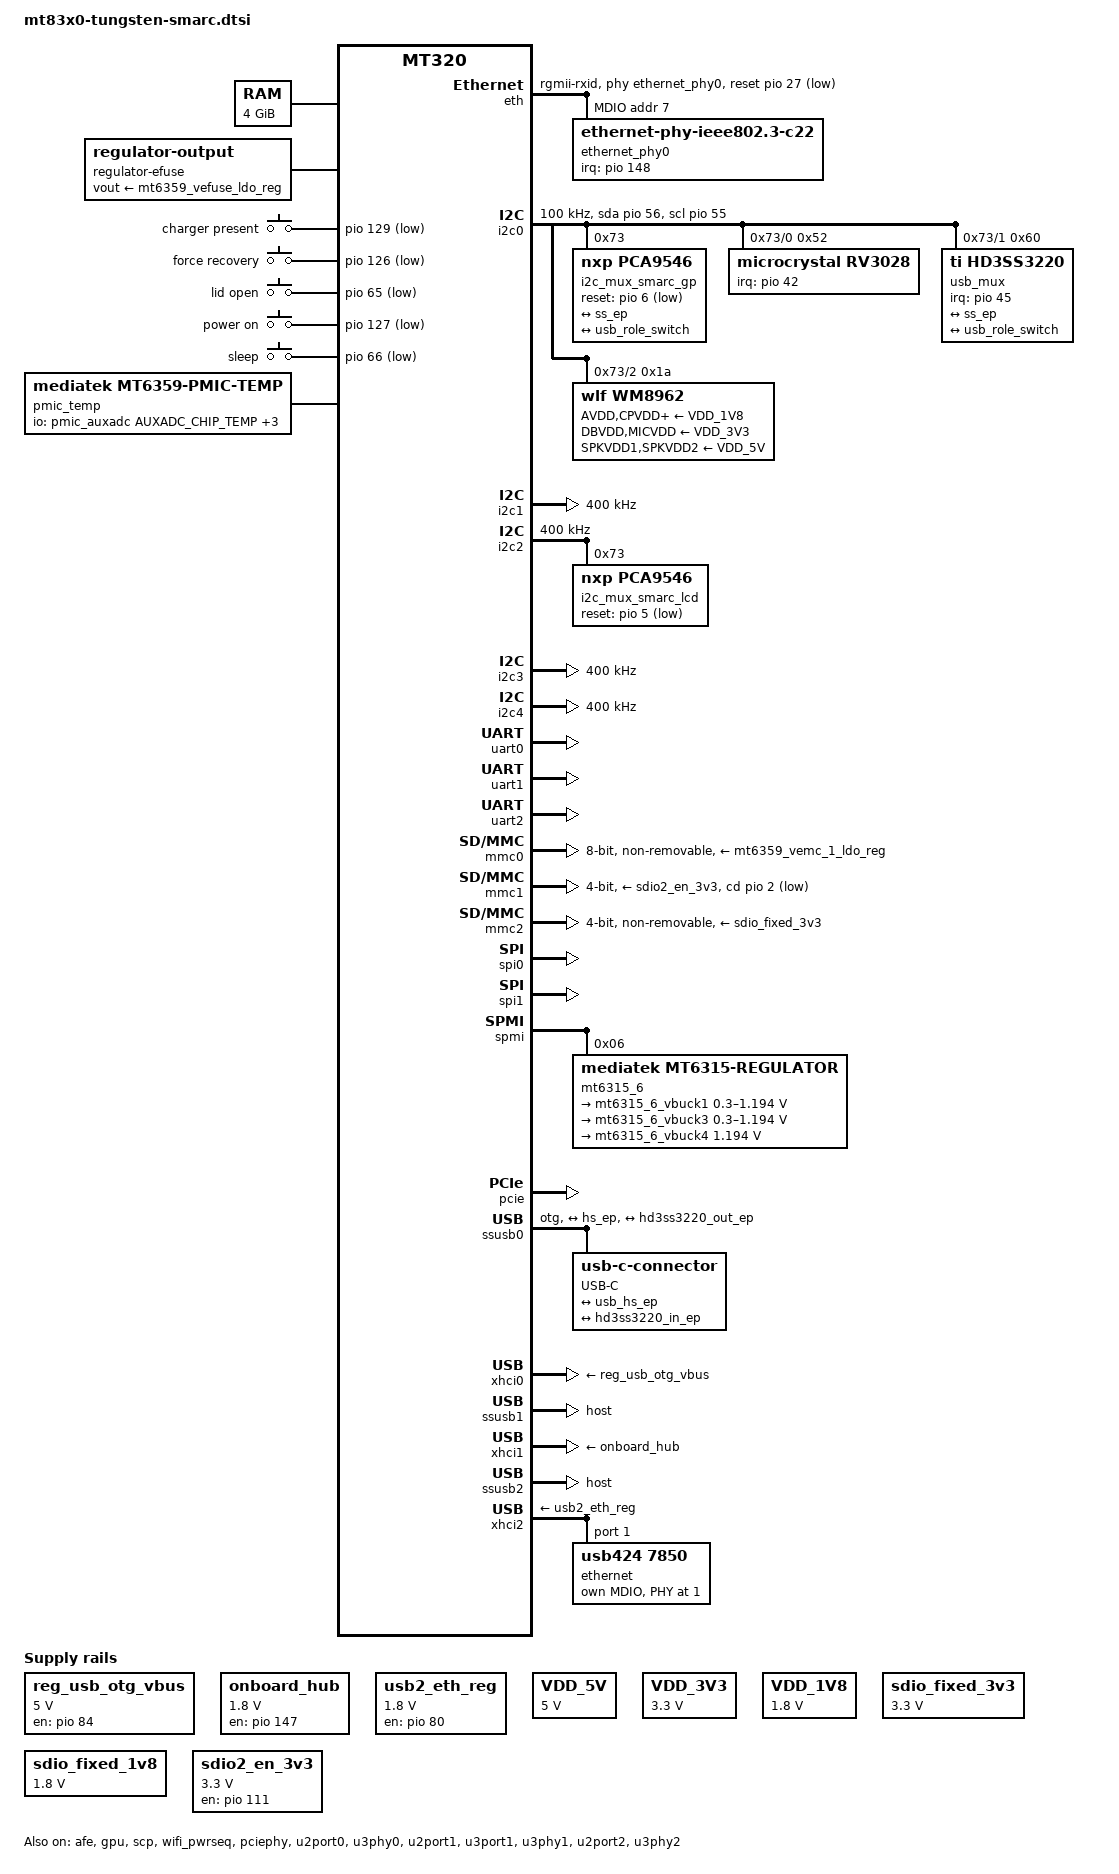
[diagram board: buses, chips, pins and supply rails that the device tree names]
// SPDX-License-Identifier: (GPL-2.0 OR MIT)
/*
 * Copyright (C) 2023 Boundary Devices
 */
#include "mt6359.dtsi"
#include <dt-bindings/gpio/gpio.h>
#include <dt-bindings/input/input.h>
#include <dt-bindings/interrupt-controller/irq.h>
#include <dt-bindings/net/microchip-lan78xx.h>
#include <dt-bindings/pinctrl/mediatek,mt8188-pinfunc.h>
#include <dt-bindings/usb/pd.h>

/ {
	aliases {
		dsi0 = &dsi0;
		ethernet0 = &eth;
		rtc0 = &rv3028;
		rtc1 = &mt6359rtc;
		serial0 = &uart0;
	};

	chosen {
		stdout-path = "serial0:115200n8";
	};

	memory@40000000 {
		device_type = "memory";
		reg = <0 0x40000000 0x1 0x00000000>;
	};

	reserved-memory {
		#address-cells = <2>;
		#size-cells = <2>;
		ranges;

		/*
		 * 12 MiB reserved for OP-TEE (BL32)
		 * +-----------------------+ 0x43e0_0000
		 * |      SHMEM 2MiB       |
		 * +-----------------------+ 0x43c0_0000
		 * |        | TA_RAM  8MiB |
		 * + TZDRAM +--------------+ 0x4340_0000
		 * |        | TEE_RAM 2MiB |
		 * +-----------------------+ 0x4320_0000
		 */
		optee_reserved: optee@43200000 {
			no-map;
			reg = <0 0x43200000 0 0x00c00000>;
		};

		scp_mem: memory@50000000 {
			compatible = "shared-dma-pool";
			reg = <0 0x50000000 0 0x2900000>;
			no-map;
		};

		/* 2 MiB reserved for ARM Trusted Firmware (BL31) */
		bl31_secmon_reserved: secmon@54600000 {
			no-map;
			reg = <0 0x54600000 0x0 0x200000>;
		};

		apu_mem: memory@55000000 {
			compatible = "shared-dma-pool";
			reg = <0 0x55000000 0 0x1400000>; /* 20 MB */
		};

		vpu_mem: memory@57000000 {
			compatible = "shared-dma-pool";
			reg = <0 0x57000000 0 0x1400000>; /* 20 MB */
		};

		/*
		 * 24 MiB reserved for Audio AFE and ADSP
		 * +-----------------------+ 0x6180_0000
		 * |  AFE DMA MEM     8MiB |
		 * +-----------------------+ 0x6100_0000
		 * |  ADSP DMA MEM    1MiB |
		 * +-----------------------+ 0x60f0_0000
		 * |  ADSP MEM       15MiB |
		 * +-----------------------+ 0x6000_0000
		 */

		adsp_mem_reserved: adsp-mem-region {
			compatible = "shared-dma-pool";
			reg = <0 0x60000000 0 0xf00000>;
			no-map;
		};

		adsp_dma_mem_reserved: snd-dma-mem-region {
			compatible = "shared-dma-pool";
			reg = <0 0x60f00000 0 0x100000>;
			no-map;
		};

		afe_dma_mem_reserved: adsp-dma-mem-region {
			compatible = "shared-dma-pool";
			reg = <0 0x61000000 0 0x800000>;
			no-map;
		};
	};

	firmware {
		optee {
			compatible = "linaro,optee-tz";
			method = "smc";
		};
	};

	regulator-efuse {
		compatible = "regulator-output";
		vout-supply = <&mt6359_vefuse_ldo_reg>;
	};

	reg_usb_otg_vbus: regulator-usb-otg-vbus { /* USB 2.0 P0 USB-C */
		compatible = "regulator-fixed";
		regulator-name = "usb_otg_vbus";
		regulator-min-microvolt = <5000000>;
		regulator-max-microvolt = <5000000>;
		gpio = <&pio 84 GPIO_ACTIVE_HIGH>; /* USB0_DRV_VBUS */
		enable-active-high;
	};

	onboard_hub: regulator-usb1-hub-reset {
		compatible = "regulator-fixed";
		regulator-name = "hub_reset";
		regulator-min-microvolt = <1800000>;
		regulator-max-microvolt = <1800000>;
		gpio = <&pio 147 GPIO_ACTIVE_HIGH>; /* USB_HUB_RESET DPI_HSYNC*/
		enable-active-high;
		pinctrl-names = "default";
		pinctrl-0 = <&usb_hub_reset>;
	};

	usb2_eth_reg: regulator-usb2-eth-reset {
		compatible = "regulator-fixed";
		regulator-name = "eth1_reset";
		regulator-min-microvolt = <1800000>;
		regulator-max-microvolt = <1800000>;
		gpio = <&pio 80 GPIO_ACTIVE_HIGH>;
		enable-active-high;
		pinctrl-names = "default";
		pinctrl-0 = <&usb2_eth_reset>;
	};

	VDD_5V: VDD-5V {
		compatible = "regulator-fixed";
		regulator-name = "VDD-5V";
		regulator-min-microvolt = <5000000>;
		regulator-max-microvolt = <5000000>;
		regulator-always-on;
	};

	VDD_3V3: VDD-3V3 {
		compatible = "regulator-fixed";
		regulator-name = "VDD-3V3";
		regulator-min-microvolt = <3300000>;
		regulator-max-microvolt = <3300000>;
		regulator-always-on;
	};

	VDD_1V8: VDD-1V8 {
		compatible = "regulator-fixed";
		regulator-name = "VDD-1V8";
		regulator-min-microvolt = <1800000>;
		regulator-max-microvolt = <1800000>;
		regulator-always-on;
	};

	sdio_fixed_3v3: regulator@2 { /* WiFi */
		compatible = "regulator-fixed";
		regulator-name = "sdio_card";
		regulator-min-microvolt = <3300000>;
		regulator-max-microvolt = <3300000>;
		enable-active-high;
		regulator-always-on;
	};

	sdio_fixed_1v8: regulator@3 { /* WiFi */
		compatible = "regulator-fixed";
		regulator-name = "sdio_io";
		regulator-min-microvolt = <1800000>;
		regulator-max-microvolt = <1800000>;
		enable-active-high;
		regulator-always-on;
	};

	sdio2_en_3v3: regulator-sdio2 { /* SDCARD */
		compatible = "regulator-fixed";
		regulator-always-on;
		regulator-name = "sdio2-en";
		regulator-min-microvolt = <3300000>;
		regulator-max-microvolt = <3300000>;
		gpio = <&pio 111 GPIO_ACTIVE_HIGH>;
		enable-active-high;
	};

	gpio_keys: gpio-keys {
		compatible = "gpio-keys";
		pinctrl-names = "default";
		pinctrl-0 = <&gpio_keys_pins>;

		charger-present {
			label = "charger present";
			gpios = <&pio 129 GPIO_ACTIVE_LOW>;
			linux,code = <11>;
		};

		force-recovery {
			label = "force recovery";
			gpios = <&pio 126 GPIO_ACTIVE_LOW>;
			linux,code = <2>;
		};

		lid-open {
			label = "lid open";
			gpios = <&pio 65 GPIO_ACTIVE_LOW>;
			linux,code = <3>;
		};

		pwr-on {
			label = "power on";
			gpios = <&pio 127 GPIO_ACTIVE_LOW>;
			linux,code = <4>;
		};

		sleep {
			label = "sleep";
			gpios = <&pio 66 GPIO_ACTIVE_LOW>;
			linux,code = <5>;
		};
	};

	pmic_temp: pmic-temp {
		compatible = "mediatek,mt6359-pmic-temp";
		io-channels =
			<&pmic_auxadc AUXADC_CHIP_TEMP>,
			<&pmic_auxadc AUXADC_VCORE_TEMP>,
			<&pmic_auxadc AUXADC_VPROC_TEMP>,
			<&pmic_auxadc AUXADC_VGPU_TEMP>;
		io-channel-names =
			"pmic_chip_temp",
			"pmic_buck1_temp",
			"pmic_buck2_temp",
			"pmic_buck3_temp";

		#thermal-sensor-cells = <1>;
		nvmem-cells = <&thermal_efuse_data1>;
		nvmem-cell-names = "e_data1";
	};
};

&afe {
	memory-region = <&afe_dma_mem_reserved>;
	#sound-dai-cells = <0>;
	mediatek,etdm-out1-multi-pin-mode;
	mediatek,etdm-in2-multi-pin-mode;
	mediatek,etdm-in2-cowork-source = <2>;
	status = "okay";
};

&adsp {
	memory-region = <&adsp_dma_mem_reserved>,
		<&adsp_mem_reserved>;
};

&eth {
	/delete-property/ mac-address;
	mediatek,mac-wol;
	phy-mode ="rgmii-rxid";
	phy-handle = <&ethernet_phy0>;
	snps,reset-gpio = <&pio 27 GPIO_ACTIVE_LOW>;
	snps,reset-active-low;
	snps,reset-delays-us = <0 11000 1000>;
	mediatek,tx-delay-ps = <2030>;
	pinctrl-names = "default", "sleep";
	pinctrl-0 = <&eth_default_pins>;
	pinctrl-1 = <&eth_sleep_pins>;
	status = "okay";

	mdio {
		compatible = "snps,dwmac-mdio";
		#address-cells = <1>;
		#size-cells = <0>;
		ethernet_phy0: ethernet-phy@7 {
			reg = <7>;
			compatible = "ethernet-phy-ieee802.3-c22";
			eee-broken-1000t;
			interrupts-extended = <&pio 148 IRQ_TYPE_LEVEL_LOW>;
		};
	};
};

&dp_intf1 {
	status = "disabled";
	ports {
		port {
			dp_intf1_out: endpoint {
				remote-endpoint = <&dptx_in>;
			};
		};
	};
};

&dp_tx {
	pinctrl-names = "default";
	pinctrl-0 = <&dptx_pin>;
	status = "disabled";

	ports {
		#address-cells = <1>;
		#size-cells = <0>;
		port@0 {
			reg = <0>;
			dptx_in: endpoint {
				remote-endpoint = <&dp_intf1_out>;
			};
		};

		port@1 {
			reg = <1>;
			dptx_out: endpoint {
				data-lanes = <0 1 2 3>;
			};
		};
	};
};

&gpu {
	mali-supply = <&mt6359_vproc2_buck_reg>;
	status = "okay";
};

&i2c0 { /* SM_I2C_GP */
	pinctrl-names = "default", "gpio";
	pinctrl-0 = <&i2c0_pin>;
	pinctrl-1 = <&i2c0_1_pin>;
	scl-gpios = <&pio 55 GPIO_OPEN_DRAIN>;
	sda-gpios = <&pio 56 GPIO_OPEN_DRAIN>;
	clock-frequency = <100000>;
	status = "okay";

	/* On bd-universal-smarc-carrier */
	i2c_mux_smarc_gp@73 {
		compatible = "nxp,pca9546";
		reg = <0x73>;
		reset-gpios = <&pio 6 GPIO_ACTIVE_LOW>;
		#address-cells = <1>;
		#size-cells = <0>;

		i2c_mux_smarc_gp_rtc: i2cmuxsmarcgp@rtc {
			/* RTC */
			clock-frequency = <100000>;
			reg = <0>;
			#address-cells = <1>;
			#size-cells = <0>;
		};

		i2c_mux_smarc_gp_usbc: i2cmuxsmarcgp@usb-c {
			/* USB C */
			clock-frequency = <100000>;
			reg = <1>;
			#address-cells = <1>;
			#size-cells = <0>;
		};

		i2c_mux_smarc_gp_aud: i2cmuxsmarcgp@audio {
			/* audio */
			clock-frequency = <100000>;
			reg = <2>;
			#address-cells = <1>;
			#size-cells = <0>;
		};

		i2c_mux_smarc_gp_pcie: i2cmuxsmarcgp@pcie {
			/* pcie */
			clock-frequency = <100000>;
			reg = <3>;
			#address-cells = <1>;
			#size-cells = <0>;
		};
	};

};

&i2c1 { /* PMIC I2C bus, but the PMIC is on spmi */
	pinctrl-names = "default";
	pinctrl-0 = <&i2c1_pin>;
	clock-frequency = <400000>;
	status = "okay";
};

&i2c2 { /* LCD I2C */
	pinctrl-names = "default";
	pinctrl-0 = <&i2c2_pin>;
	clock-frequency = <400000>;
	status = "okay";

	i2c_mux_smarc_lcd@73 { /* On SMARC carrier */
		compatible = "nxp,pca9546";
		pinctrl-names = "default";
		pinctrl-0 = <&mux_smarc_lcd_pin>;
		reg = <0x73>;
		reset-gpios = <&pio 5 GPIO_ACTIVE_LOW>;
		#address-cells = <1>;
		#size-cells = <0>;

		i2c_mux_lcd_edp0: i2cmuxsmarclcd@edp0 {
			/* EDP0 */
			clock-frequency = <100000>;
			reg = <0>;
			#address-cells = <1>;
			#size-cells = <0>;
		};

		i2c_mux_lcd_edp1: i2cmuxsmarclcd@edp1 {
			/* EDP1 */
			clock-frequency = <100000>;
			reg = <1>;
			#address-cells = <1>;
			#size-cells = <0>;
		};

		i2c_mux_lcd_dsi0: i2cmuxsmarclcd@dsi0 {
			/* DSI0 */
			clock-frequency = <100000>;
			reg = <2>;
			#address-cells = <1>;
			#size-cells = <0>;
		};

		i2c_mux_lcd_dsi1: i2cmuxsmarclcd@dsi1 {
			/* DSI1 */
			clock-frequency = <100000>;
			reg = <3>;
			#address-cells = <1>;
			#size-cells = <0>;
		};
	};
};

&i2c3 { /* CSI0 I2C */
	pinctrl-names = "default";
	pinctrl-0 = <&i2c3_pin>;
	clock-frequency = <400000>;
	status = "okay";
};

&i2c4 { /* CSI1 I2C */
	pinctrl-names = "default", "default";
	pinctrl-0 = <&i2c4_pin>;
	clock-frequency = <400000>;
	status = "okay";

};

&i2c_mux_smarc_gp_rtc {
	rv3028: rtc@52 {
		pinctrl-names = "default";
		pinctrl-0 = <&rv3028_pin>;
		backup-switchover-dsm;
		#clock-cells = <0>;
		compatible = "microcrystal,rv3028";
		reg = <0x52>;
		interrupts-extended = <&pio 42 IRQ_TYPE_LEVEL_LOW>;
		wakeup-source;
	};
};

&i2c_mux_smarc_gp_usbc {
	usb_mux: hd3ss3220@60 {
		compatible = "ti,hd3ss3220";
		interrupts-extended = <&pio 45 IRQ_TYPE_LEVEL_LOW>;
		pinctrl-names = "default";
		pinctrl-0 = <&hd3ss3220_pin>;
		reg = <0x60>;

		ports {
			#address-cells = <1>;
			#size-cells = <0>;

			port@0 {
				reg = <0>;
				hd3ss3220_in_ep: endpoint {
					remote-endpoint = <&ss_ep>;
				};
			};

			port@1 {
				reg = <1>;
				hd3ss3220_out_ep: endpoint {
					remote-endpoint = <&usb_role_switch>;
				};
			};
		};
	};
};

&i2c_mux_smarc_gp_aud {
	wm8962: codec@1a {
		#sound-dai-cells = <0>;
		AVDD-supply = <&VDD_1V8>;
		CPVDD-supply = <&VDD_1V8>;
		DBVDD-supply = <&VDD_3V3>;
		DCVDD-supply = <&VDD_1V8>;
		MICVDD-supply = <&VDD_3V3>;
		PLLVDD-supply = <&VDD_1V8>;
		SPKVDD1-supply = <&VDD_5V>;
		SPKVDD2-supply = <&VDD_5V>;
		clocks = <&topckgen CLK_TOP_I2SO1>;
		compatible = "wlf,wm8962";
		gpio-cfg = <
			0x0000 /* n/c */
			0x0000 /* gpio2: */
			0x0000 /* gpio3: */
			0x0000 /* n/c */
			0x8081 /* gpio5:HP detect */
			0x8095 /* gpio6:Mic detect */
		>;
		reg = <0x1a>;
	};
};

&pmic {
	interrupt-parent = <&pio>;
	interrupts = <222 IRQ_TYPE_LEVEL_HIGH>;

	/delete-node/ mt6359keys;

	pmic_key: pmic-key {
		compatible = "mediatek,mt6359-keys";
		mediatek,long-press-mode = <1>;
		power-off-time-sec = <0>;

		power-key{
			linux,keycodes = <116>; /* KEY_POWER */
			wakeup-source;
		};
	};
};

&scp {
	memory-region = <&scp_mem>;
	status = "okay";
};

&thermal_zones {
	pmic-temp {
		polling-delay = <1000>; /* milliseconds */
		polling-delay-passive = <1000>; /* milliseconds */
		thermal-sensors = <&pmic_temp 0>;

		trips {
			pmic_temp_crit: pmic-temp-crit@0 {
				temperature = <130000>;
				hysteresis = <2000>;
				type = "critical";
			};
		};
	};
	pmic-vcore {
		polling-delay = <0>; /* milliseconds */
		polling-delay-passive = <0>; /* milliseconds */
		thermal-sensors = <&pmic_temp 1>;
		trips {
			pmic_vcore_crit: pmic-vcore-crit {
				temperature = <130000>;
				hysteresis = <2000>;
				type = "critical";
			};
		};
	};
	pmic-vproc {
		polling-delay = <0>; /* milliseconds */
		polling-delay-passive = <0>; /* milliseconds */
		thermal-sensors = <&pmic_temp 2>;
		trips {
			pmic_vproc_crit: pmic-vproc-crit {
				temperature = <130000>;
				hysteresis = <2000>;
				type = "critical";
			};
		};
	};
	pmic-vgpu {
		polling-delay = <0>; /* milliseconds */
		polling-delay-passive = <0>; /* milliseconds */
		thermal-sensors = <&pmic_temp 3>;
		trips {
			pmic_vgpu_crit: pmic-vgpu-crit {
				temperature = <130000>;
				hysteresis = <2000>;
				type = "critical";
			};
		};
	};
};

&mt6359codec {
	mediatek,mic-type-0 = <1>; /* ACC */
	mediatek,mic-type-1 = <3>; /* DCC */
	mediatek,mic-type-2 = <0>;
	mediatek,dmic-mode = <0>;
};

&mt6359_vbbck_ldo_reg {
	regulator-always-on;
};

&mt6359_vcn33_1_bt_ldo_reg {
	regulator-always-on;
};

&mt6359_vcn33_2_bt_ldo_reg {
	regulator-always-on;
};

&mt6359_vcore_buck_reg {
	regulator-always-on;
};

&mt6359_vgpu11_buck_reg {
	regulator-always-on;
};

&mt6359_vpu_buck_reg {
	regulator-always-on;
};

&mt6359_vrf12_ldo_reg {
	regulator-always-on;
};

&mt6359_vufs_ldo_reg {
	regulator-always-on;
};

&mt6359_vsim1_ldo_reg {
	/* Used by mmc1. Limit to 1v8 as this ldo cannot do 3v3 */
	regulator-max-microvolt = <1800000>;
	regulator-enable-ramp-delay = <480>;
};

&uart0 {
	pinctrl-0 = <&uart0_pins>;
	pinctrl-names = "default";
	status = "okay";
};

&uart1 {
	pinctrl-0 = <&uart1_pins>;
	pinctrl-names = "default";
	status = "okay";
};

&uart2 {
	pinctrl-0 = <&uart2_pins>;
	pinctrl-names = "default";
	status = "okay";
};

&mt6359_vemc_1_ldo_reg {
	regulator-always-on;
};

/* eMMC */
&mmc0 {
	status = "okay";
	pinctrl-names = "default", "state_uhs";
	pinctrl-0 = <&mmc0_pins_default>;
	pinctrl-1 = <&mmc0_pins_uhs>;
	bus-width = <8>;
	max-frequency = <200000000>;
	cap-mmc-highspeed;
	cap-mmc-hw-reset;
	mmc-hs200-1_8v;
	mmc-hs400-1_8v;
	supports-cqe;
	cap-mmc-hw-reset;
	no-sdio;
	no-sd;
	hs400-ds-delay = <0x1481b>;
	vmmc-supply = <&mt6359_vemc_1_ldo_reg>;
	vqmmc-supply = <&mt6359_vufs_ldo_reg>;
	non-removable;
};

/* SDCARD */
&mmc1 {
	status = "okay";
	pinctrl-names = "default", "state_uhs";
	pinctrl-0 = <&mmc1_pins_default>;
	pinctrl-1 = <&mmc1_pins_uhs>;
	bus-width = <4>;
	max-frequency = <200000000>;
	cap-sd-highspeed;
	sd-uhs-sdr50;
	sd-uhs-sdr104;
	cd-gpios = <&pio 2 GPIO_ACTIVE_LOW>;
	vqmmc-supply = <&mt6359_vsim1_ldo_reg>;
	vmmc-supply = <&sdio2_en_3v3>;
};

&wifi_pwrseq {
	status = "okay";
	pinctrl-names = "default";
	pinctrl-0 = <&wifi_pwrseq_pin>;

	reset-gpios = <&pio 89 GPIO_ACTIVE_LOW>;
	post-power-on-delay-ms = <200>;
};

/* WiFi */
&mmc2 {
	status = "okay";
	pinctrl-names = "default", "state_uhs", "state_eint",
					"state_dat1";
	pinctrl-0 = <&mmc2_pins_default>;
	pinctrl-1 = <&mmc2_pins_uhs>;
	pinctrl-2 = <&mmc2_pins_eint>;
	pinctrl-3 = <&mmc2_pins_dat1>;
	eint-gpios = <&pio 172 0>;
	bus-width = <4>;
	max-frequency = <200000000>;
	cap-sd-highspeed;
	sd-uhs-sdr104;
	keep-power-in-suspend;
	enable-sdio-wakeup;
	cap-sdio-async-int;
	cap-sdio-irq;
	no-mmc;
	no-sd;
	non-removable;
	vmmc-supply = <&sdio_fixed_3v3>;
	vqmmc-supply = <&mt6359_vcn18_ldo_reg>; // VCN18_WIFI
	mmc-pwrseq = <&wifi_pwrseq>;
#include "mt7921-mt320-tables.dtsi"
};

&spi0 {
	pinctrl-0 = <&spi0_pins>;
	pinctrl-names = "default";
	mediatek,pad-select = <0>;
	#address-cells = <1>;
	#size-cells = <0>;
	status = "okay";
};

&spi1 {
	pinctrl-0 = <&spi1_pins>;
	pinctrl-names = "default";
	mediatek,pad-select = <0>;
	#address-cells = <1>;
	#size-cells = <0>;
	status = "okay";
};

&spmi {
	#address-cells = <1>;
	#size-cells = <2>;

	mt6315_6: mt6315@6 {
		compatible = "mediatek,mt6315-regulator";
		reg = <0x6 0 0xb>;

		regulators {
			mt6315_6_vbuck1: vbuck1 {
				regulator-compatible = "vbuck1";
				regulator-name = "vbuck1";
				regulator-min-microvolt = <300000>;
				regulator-max-microvolt = <1193750>;
				regulator-enable-ramp-delay = <256>;
				regulator-allowed-modes = <0 1 2>;
				regulator-always-on;
				mtk,combined-regulator = <2>;
			};

			mt6315_6_vbuck3: vbuck3 {
				regulator-compatible = "vbuck3";
				regulator-name = "vbuck3";
				regulator-min-microvolt = <300000>;
				regulator-max-microvolt = <1193750>;
				regulator-enable-ramp-delay = <256>;
				regulator-allowed-modes = <0 1 2>;
				regulator-always-on;
			};

			mt6315_6_vbuck4: vbuck4 {
				regulator-compatible = "vbuck4";
				regulator-name = "vbuck4";
				regulator-min-microvolt = <1193750>;
				regulator-max-microvolt = <1193750>;
				regulator-enable-ramp-delay = <256>;
				regulator-allowed-modes = <0 1 2>;
				regulator-always-on;

				regulator-state-mem {
					regulator-on-in-suspend;
					regulator-suspend-microvolt = <1193750>;
				};
			};
		};
	};
};

&pcie {
	pinctrl-names = "default";
	pinctrl-0 = <&pcie_pins_default>;
	status = "okay";
};

&pciephy {
	status = "okay";
};

&ssusb0 { /* USB-C */
	pinctrl-names = "default";
	pinctrl-0 = <&usbotg_pins>;
	maximum-speed = "high-speed";
	usb-role-switch;
	dr_mode = "otg";
	vusb33-supply = <&mt6359_vusb_ldo_reg>;
	mediatek,force-vbus;
	wakeup-source;
	status = "okay";

	connector {
		compatible = "usb-c-connector";
		label = "USB-C";
		data-role = "dual";

		ports {
			#address-cells = <1>;
			#size-cells = <0>;

			port@0 {
				reg = <0>;
				hs_ep: endpoint {
					remote-endpoint = <&usb_hs_ep>;
				};
			};

			port@1 {
				reg = <1>;
				ss_ep: endpoint {
					remote-endpoint = <&hd3ss3220_in_ep>;
				};
			};
		};
	};

	ports {
		#address-cells = <1>;
		#size-cells = <0>;

		port@0 {
			reg = <0>;
			usb_hs_ep: endpoint {
				remote-endpoint = <&hs_ep>;
			};
		};

		port@1 {
			reg = <1>;
			usb_role_switch: endpoint {
				remote-endpoint = <&hd3ss3220_out_ep>;
			};
		};
	};
};

&u2port0 {
	status = "okay";
};

&u3phy0 {
	status = "okay";
};

&xhci0 {
	vbus-supply = <&reg_usb_otg_vbus>;
	vusb33-supply = <&mt6359_vusb_ldo_reg>;
	status = "okay";
};

&ssusb1 { /* HUB */
	pinctrl-0 = <&usb1_default>;
	pinctrl-names = "default";
	vusb33-supply = <&mt6359_vusb_ldo_reg>;
	dr_mode = "host";
	mediatek,force-vbus;
	wakeup-source;
	status = "okay";
};

&u2port1 {
	status = "okay";
};

&u3port1 {
	status = "okay";
};

&u3phy1 {
	status = "okay";
};

&xhci1 {
	vbus-supply = <&onboard_hub>;
	vusb33-supply = <&mt6359_vusb_ldo_reg>;
	status = "okay";
};

&ssusb2 { /* USB ETH 7850 */
	maximum-speed = "high-speed";
	dr_mode = "host";
	mediatek,force-vbus;
	vusb33-supply = <&mt6359_vusb_ldo_reg>;
	status = "okay";
	wakeup-source;
};

&u2port2 {
	status = "okay";
};

&u3phy2 {
	status = "okay";
};

&xhci2 {
	vbus-supply = <&usb2_eth_reg>;
	vusb33-supply = <&mt6359_vusb_ldo_reg>;
	#address-cells = <1>;
	#size-cells = <0>;
	status = "okay";

	ethernet: ethernet@1 {
		compatible = "usb424,7850";
		reg = <1>;

		#address-cells = <1>;
		#size-cells = <0>;
		mdio {
			#address-cells = <0x1>;
			#size-cells = <0x0>;
			eth_phy: ethernet-phy@1 {
				reg = <1>;
				microchip,led-modes = <
					LAN78XX_LINK_1000_ACTIVITY
					LAN78XX_LINK_10_ACTIVITY
					LAN78XX_LINK_10_100_ACTIVITY
					LAN78XX_LINK_ACTIVITY
				>;
			};
		};
	};
};

&mfg0 {
	domain-supply = <&mt6359_vproc2_buck_reg>;
};

&mfg1 {
	domain-supply = <&mt6359_vsram_others_ldo_reg>;
};

&mt6359_vmodem_buck_reg {
	regulator-always-on;
};

&mt6359_vpa_buck_reg {
	regulator-always-on;
};

&mt6359_vsram_md_ldo_reg {
	regulator-always-on;
};

&sound {
	compatible = "mediatek,mt8390-evk";
	pinctrl-names = "default";
	pinctrl-0 = <&aud_pins_default>;
	audio-routing =
		"Headphone", "Headphone L",
		"Headphone", "Headphone R",
		"Headphone", "HPOUTL",
		"Headphone", "HPOUTR",
		"Headphone", "SPKOUTL",
		"Headphone", "SPKOUTR",
		"Headset Mic", "MICBIAS",
		"IN1R", "Headset Mic",
		"IN2R", "Headset Mic",
		"IN3L", "Headset Mic",
		"IN3R", "Headset Mic";
	status = "okay";

	dai-link-0 {
		sound-dai = <&afe>;
		dai-link-name = "ADDA_BE";
		status = "okay";

		codec-0 {
			sound-dai = <&pmic 0>;
		};

	};

	dai-link-1 {
		sound-dai = <&afe>;
		dai-link-name = "ETDM3_OUT_BE";
		status = "disabled";

		codec-0 {
			sound-dai = <&hdmi0>;
		};
	};

	dai-link-2 {
		sound-dai = <&afe>;
		dai-link-name = "DPTX_BE";
		status = "disabled";

		codec-0 {
			sound-dai = <&dp_tx>;
		};
	};

	dai-link-3 {
		sound-dai = <&afe>;
		dai-link-name = "ETDM1_OUT_BE";
		status = "okay";

		codec-0 {
			sound-dai = <&wm8962>;
		};
	};

	dai-link-4 {
		sound-dai = <&afe>;
		dai-link-name = "ETDM2_IN_BE";
		status = "okay";

		codec-0 {
			sound-dai = <&wm8962>;
		};
	};
};

&cam_vcore {
	domain-supply = <&mt6359_vproc1_buck_reg>;
};

&img_vcore {
	domain-supply = <&mt6359_vproc1_buck_reg>;
};

&watchdog {
	pinctrl-names = "default";
	pinctrl-0 = <&pinctrl_watchdog>;
};

&pio {
	aud_pins_default: audiodefault {
		pins-aud-pmic {
			pinmux = <
				PINMUX_GPIO101__FUNC_O_AUD_CLK_MOSI
				PINMUX_GPIO102__FUNC_O_AUD_SYNC_MOSI
				PINMUX_GPIO103__FUNC_O_AUD_DAT_MOSI0
				PINMUX_GPIO104__FUNC_O_AUD_DAT_MOSI1
				PINMUX_GPIO105__FUNC_I0_AUD_DAT_MISO0
				PINMUX_GPIO106__FUNC_I0_AUD_DAT_MISO1
			>;
		};

		pins-pcm-wifi {
			pinmux = <
				PINMUX_GPIO121__FUNC_B0_PCM_CLK
				PINMUX_GPIO122__FUNC_B0_PCM_SYNC
				PINMUX_GPIO123__FUNC_O_PCM_DO
				PINMUX_GPIO124__FUNC_I0_PCM_DI
			>;
		};

		pins-i2s {
			pinmux = <
				PINMUX_GPIO119__FUNC_O_I2SO1_MCK
				PINMUX_GPIO112__FUNC_O_I2SO1_WS
				PINMUX_GPIO120__FUNC_O_I2SO1_BCK
				PINMUX_GPIO113__FUNC_O_I2SO1_D0
				PINMUX_GPIO110__FUNC_I0_I2SIN_D0
			>;
		};
	};

	disp_pwm0_pin: disp-pwm0-pin {
		pins1 {
			pinmux = <PINMUX_GPIO29__FUNC_O_DISP_PWM0>;
			bias-pull-down;
		};
	};

	disp_pwm1_pin: disp-pwm1-pin {
		pins1 {
			pinmux = <PINMUX_GPIO30__FUNC_O_DISP_PWM1>;
			bias-pull-down;
		};
	};

	dptx_pin: dptx-pin {
		pins-cmd-dat {
			pinmux = <PINMUX_GPIO46__FUNC_I0_DP_TX_HPD>;
			bias-pull-up;
		};
	};

	edp_panel_3v3_en_pins: edp-panel-3v3-en-pins {
		pins1 {
			pinmux = <PINMUX_GPIO15__FUNC_B_GPIO15>;
			output-high;
		};
	};

	eth_default_pins: eth-default-pins {
		pins-txd {
			pinmux = <PINMUX_GPIO131__FUNC_O_GBE_TXD3>,
				 <PINMUX_GPIO132__FUNC_O_GBE_TXD2>,
				 <PINMUX_GPIO133__FUNC_O_GBE_TXD1>,
				 <PINMUX_GPIO134__FUNC_O_GBE_TXD0>;
			drive-strength = <MTK_DRIVE_8mA>;
		};
		pins-cc {
			pinmux = <PINMUX_GPIO139__FUNC_B0_GBE_TXC>,
				 <PINMUX_GPIO142__FUNC_O_GBE_TXEN>,
				 <PINMUX_GPIO141__FUNC_I0_GBE_RXDV>;
			drive-strength = <MTK_DRIVE_8mA>;
		};
		pins-rxd {
			pinmux = <PINMUX_GPIO135__FUNC_I0_GBE_RXD3>,
				 <PINMUX_GPIO136__FUNC_I0_GBE_RXD2>,
				 <PINMUX_GPIO137__FUNC_I0_GBE_RXD1>,
				 <PINMUX_GPIO138__FUNC_I0_GBE_RXD0>,
				 <PINMUX_GPIO140__FUNC_I0_GBE_RXC>;
			drive-strength = <MTK_DRIVE_8mA>;
			bias-pull-up = <MTK_PUPD_SET_R1R0_10>;
		};
		pins-mdio {
			pinmux = <PINMUX_GPIO143__FUNC_O_GBE_MDC>,
				 <PINMUX_GPIO144__FUNC_B1_GBE_MDIO>;
			drive-strength = <MTK_DRIVE_8mA>;
			input-enable;
		};
		pins-power {
			pinmux = <PINMUX_GPIO27__FUNC_B_GPIO27>; /* GP_EQOS_RESET */
			output-high;
		};
		pins-intr {
			pinmux = <PINMUX_GPIO148__FUNC_B_GPIO148>; /* GPIRQ_EQOS_PHY */
			bias-pull-up = <MTK_PUPD_SET_R1R0_10>;
			input-enable;
		};
	};

	eth_sleep_pins: eth-sleep-pins {
		pins-txd {
			pinmux = <PINMUX_GPIO131__FUNC_B_GPIO131>,
				 <PINMUX_GPIO132__FUNC_B_GPIO132>,
				 <PINMUX_GPIO133__FUNC_B_GPIO133>,
				 <PINMUX_GPIO134__FUNC_B_GPIO134>;
		};
		pins-cc {
			pinmux = <PINMUX_GPIO139__FUNC_B_GPIO139>,
				 <PINMUX_GPIO142__FUNC_B_GPIO142>,
				 <PINMUX_GPIO141__FUNC_B_GPIO141>,
				 <PINMUX_GPIO140__FUNC_B_GPIO140>;
		};
		pins-rxd {
			pinmux = <PINMUX_GPIO135__FUNC_B_GPIO135>,
				 <PINMUX_GPIO136__FUNC_B_GPIO136>,
				 <PINMUX_GPIO137__FUNC_B_GPIO137>,
				 <PINMUX_GPIO138__FUNC_B_GPIO138>;
		};
		pins-mdio {
			pinmux = <PINMUX_GPIO143__FUNC_B_GPIO143>,
				 <PINMUX_GPIO144__FUNC_B_GPIO144>;
			input-disable;
			bias-disable;
		};
	};

	gpio_keys_pins: gpio-keys-pins {
		pins-keys {
			pinmux = <PINMUX_GPIO129__FUNC_B_GPIO129>,
				 <PINMUX_GPIO65__FUNC_B_GPIO65>,
				 <PINMUX_GPIO66__FUNC_B_GPIO66>;
			bias-pull-up;
		};
	};

	hd3ss3220_pin: hd3ss3320-pin {
		irq_pins {
			pinmux = <PINMUX_GPIO45__FUNC_B_GPIO45>;
			bias-pull-up = <MTK_PUPD_SET_R1R0_01>;
			input-enable;
		};
	};

	i2c0_pin: i2c0-pin {
		pins-bus {
			pinmux = <PINMUX_GPIO56__FUNC_B1_SDA0>,
				 <PINMUX_GPIO55__FUNC_B1_SCL0>;
			bias-pull-up = <MTK_PULL_SET_RSEL_011>;
			mediatek,drive-strength-adv = <7>;
		};
	};
	i2c0_1_pin: i2c0-1pin {
		pins-gpio {
			pinmux = <PINMUX_GPIO6__FUNC_B_GPIO6>;
			bias-pull-up = <MTK_PULL_SET_RSEL_011>;
			drive-strength-microamp = <1000>;
		};
	};

	i2c1_pin: i2c1-pin {
		pins-bus {
			pinmux = <PINMUX_GPIO58__FUNC_B1_SDA1>,
				 <PINMUX_GPIO57__FUNC_B1_SCL1>;
			bias-pull-up = <MTK_PULL_SET_RSEL_011>;
			mediatek,drive-strength-adv = <7>;
		};
	};

	i2c2_pin: i2c2-pin {
		pins-bus {
			pinmux = <PINMUX_GPIO60__FUNC_B1_SDA2>,
				 <PINMUX_GPIO59__FUNC_B1_SCL2>;
			bias-pull-up = <MTK_PULL_SET_RSEL_011>;
			mediatek,drive-strength-adv = <7>;
		};
	};

	i2c3_pin: i2c3-pin {
		pins-bus {
			pinmux = <PINMUX_GPIO62__FUNC_B1_SDA3>,
				 <PINMUX_GPIO61__FUNC_B1_SCL3>;
			bias-pull-up = <MTK_PULL_SET_RSEL_011>;
			mediatek,drive-strength-adv = <7>;
		};
	};

	i2c4_pin: i2c4-pin {
		pins-bus {
			pinmux = <PINMUX_GPIO64__FUNC_B1_SDA4>,
				 <PINMUX_GPIO63__FUNC_B1_SCL4>;
			bias-pull-up = <MTK_PULL_SET_RSEL_011>;
			mediatek,drive-strength-adv = <7>;
		};
	};

	mmc0_pins_default: mmc0-default {
		pins-cmd-dat {
			pinmux = <PINMUX_GPIO161__FUNC_B1_MSDC0_DAT0>,
				 <PINMUX_GPIO160__FUNC_B1_MSDC0_DAT1>,
				 <PINMUX_GPIO159__FUNC_B1_MSDC0_DAT2>,
				 <PINMUX_GPIO158__FUNC_B1_MSDC0_DAT3>,
				 <PINMUX_GPIO154__FUNC_B1_MSDC0_DAT4>,
				 <PINMUX_GPIO153__FUNC_B1_MSDC0_DAT5>,
				 <PINMUX_GPIO152__FUNC_B1_MSDC0_DAT6>,
				 <PINMUX_GPIO151__FUNC_B1_MSDC0_DAT7>,
				 <PINMUX_GPIO156__FUNC_B1_MSDC0_CMD>;
			input-enable;
			drive-strength = <MTK_DRIVE_6mA>;
			bias-pull-up = <MTK_PUPD_SET_R1R0_01>;
		};

		pins-clk {
			pinmux = <PINMUX_GPIO157__FUNC_B1_MSDC0_CLK>;
			drive-strength = <MTK_DRIVE_6mA>;
			bias-pull-down = <MTK_PUPD_SET_R1R0_10>;
		};

		pins-rst {
			pinmux = <PINMUX_GPIO155__FUNC_O_MSDC0_RSTB>;
			drive-strength = <MTK_DRIVE_6mA>;
			bias-pull-up = <MTK_PUPD_SET_R1R0_01>;
		};
	};

	mmc0_pins_uhs: mmc0-uhs{
		pins-cmd-dat {
			pinmux = <PINMUX_GPIO161__FUNC_B1_MSDC0_DAT0>,
				 <PINMUX_GPIO160__FUNC_B1_MSDC0_DAT1>,
				 <PINMUX_GPIO159__FUNC_B1_MSDC0_DAT2>,
				 <PINMUX_GPIO158__FUNC_B1_MSDC0_DAT3>,
				 <PINMUX_GPIO154__FUNC_B1_MSDC0_DAT4>,
				 <PINMUX_GPIO153__FUNC_B1_MSDC0_DAT5>,
				 <PINMUX_GPIO152__FUNC_B1_MSDC0_DAT6>,
				 <PINMUX_GPIO151__FUNC_B1_MSDC0_DAT7>,
				 <PINMUX_GPIO156__FUNC_B1_MSDC0_CMD>;
			input-enable;
			drive-strength = <MTK_DRIVE_8mA>;
			bias-pull-up = <MTK_PUPD_SET_R1R0_01>;
		};

		pins-clk {
			pinmux = <PINMUX_GPIO157__FUNC_B1_MSDC0_CLK>;
			drive-strength = <MTK_DRIVE_8mA>;
			bias-pull-down = <MTK_PUPD_SET_R1R0_10>;
		};

		pins-ds {
			pinmux = <PINMUX_GPIO162__FUNC_B0_MSDC0_DSL>;
			drive-strength = <MTK_DRIVE_8mA>;
			bias-pull-down = <MTK_PUPD_SET_R1R0_10>;
		};

		pins-rst {
			pinmux = <PINMUX_GPIO155__FUNC_O_MSDC0_RSTB>;
			drive-strength = <MTK_DRIVE_8mA>;
			bias-pull-up = <MTK_PUPD_SET_R1R0_01>;
		};
	};

	mmc1_pins_default: mmc1-default {
		pins-cmd-dat {
			pinmux = <PINMUX_GPIO163__FUNC_B1_MSDC1_CMD>,
				 <PINMUX_GPIO165__FUNC_B1_MSDC1_DAT0>,
				 <PINMUX_GPIO166__FUNC_B1_MSDC1_DAT1>,
				 <PINMUX_GPIO167__FUNC_B1_MSDC1_DAT2>,
				 <PINMUX_GPIO168__FUNC_B1_MSDC1_DAT3>;
			input-enable;
			drive-strength = <MTK_DRIVE_6mA>;
			bias-pull-up = <MTK_PUPD_SET_R1R0_01>;
		};

		pins-pwr {
			pinmux = <PINMUX_GPIO111__FUNC_B_GPIO111>;
			bias-pull-down;
		};

		pins-pullup {
			pinmux = <PINMUX_GPIO11__FUNC_B_GPIO11>;
			bias-pull-up;
		};

		pins-clk {
			pinmux = <PINMUX_GPIO164__FUNC_B1_MSDC1_CLK>;
			drive-strength = <MTK_DRIVE_6mA>;
			bias-pull-down = <MTK_PUPD_SET_R1R0_10>;
		};

		pins-insert {
			pinmux = <PINMUX_GPIO2__FUNC_B_GPIO2>;
			bias-pull-up;
		};
	};

	mmc1_pins_uhs: mmc1-uhs {
		pins-cmd-dat {
			pinmux = <PINMUX_GPIO163__FUNC_B1_MSDC1_CMD>,
				 <PINMUX_GPIO165__FUNC_B1_MSDC1_DAT0>,
				 <PINMUX_GPIO166__FUNC_B1_MSDC1_DAT1>,
				 <PINMUX_GPIO167__FUNC_B1_MSDC1_DAT2>,
				 <PINMUX_GPIO168__FUNC_B1_MSDC1_DAT3>;
			input-enable;
			drive-strength = <MTK_DRIVE_6mA>;
			bias-pull-up = <MTK_PUPD_SET_R1R0_01>;
		};

		pins-clk {
			pinmux = <PINMUX_GPIO164__FUNC_B1_MSDC1_CLK>;
			drive-strength = <MTK_DRIVE_6mA>;
			bias-pull-down = <MTK_PUPD_SET_R1R0_10>;
		};
	};

	mmc2_pins_default: mmc2default {
		pins-clk {
			pinmux = <PINMUX_GPIO170__FUNC_B1_MSDC2_CLK>;
			drive-strength = <MTK_DRIVE_4mA>;
			bias-pull-down = <MTK_PUPD_SET_R1R0_10>;
		};

		pins-cmd-dat {
			pinmux = <PINMUX_GPIO169__FUNC_B1_MSDC2_CMD>,
				 <PINMUX_GPIO171__FUNC_B1_MSDC2_DAT0>,
				 <PINMUX_GPIO172__FUNC_B1_MSDC2_DAT1>,
				 <PINMUX_GPIO173__FUNC_B1_MSDC2_DAT2>,
				 <PINMUX_GPIO174__FUNC_B1_MSDC2_DAT3>;
			input-enable;
			drive-strength = <MTK_DRIVE_6mA>;
			bias-pull-up = <MTK_PUPD_SET_R1R0_01>;
		};
	};

	mmc2_pins_uhs: mmc2uhs {
		pins-clk {
			pinmux = <PINMUX_GPIO170__FUNC_B1_MSDC2_CLK>;
			drive-strength = <MTK_DRIVE_4mA>;
			bias-pull-down = <MTK_PUPD_SET_R1R0_10>;
		};

		pins-cmd-dat {
			pinmux = <PINMUX_GPIO169__FUNC_B1_MSDC2_CMD>,
				 <PINMUX_GPIO171__FUNC_B1_MSDC2_DAT0>,
				 <PINMUX_GPIO172__FUNC_B1_MSDC2_DAT1>,
				 <PINMUX_GPIO173__FUNC_B1_MSDC2_DAT2>,
				 <PINMUX_GPIO174__FUNC_B1_MSDC2_DAT3>;
			input-enable;
			drive-strength = <MTK_DRIVE_6mA>;
			bias-pull-up = <MTK_PUPD_SET_R1R0_01>;
		};
	};

	mmc2_pins_eint: dat1-eint {
		pins-dat1 {
			pinmux = <PINMUX_GPIO172__FUNC_B_GPIO172>;
			input-enable;
			bias-pull-up = <MTK_PUPD_SET_R1R0_01>;
		};
	};

	mmc2_pins_dat1: sdio-dat1 {
		pins-dat1 {
			pinmux = <PINMUX_GPIO172__FUNC_B1_MSDC2_DAT1>;
			input-enable;
			drive-strength = <MTK_DRIVE_6mA>;
			bias-pull-up = <MTK_PUPD_SET_R1R0_01>;
		};
	};

	mux_smarc_lcd_pin: mux-smarc-lcd-pin {
		pins-reset {
			pinmux = <PINMUX_GPIO5__FUNC_B_GPIO5>;
			bias-pull-down;
		};
	};

	rv3028_pin: rv3028grp {
		pins-irq {
			pinmux = <PINMUX_GPIO42__FUNC_B_GPIO42>; 	/* KPCOL0 */
			bias-pull-up = <MTK_PUPD_SET_R1R0_01>;
			input-enable;
		};
	};

	spi0_pins: spi0-pins {
		pins-spi {
			pinmux = <PINMUX_GPIO69__FUNC_O_SPIM0_CSB>,
				<PINMUX_GPIO70__FUNC_O_SPIM0_CLK>,
				<PINMUX_GPIO71__FUNC_B0_SPIM0_MOSI>,
				<PINMUX_GPIO72__FUNC_B0_SPIM0_MISO>;
			bias-disable;
		};
	};

	spi1_pins: spi1-pins {
		pins-spi {
			pinmux = <PINMUX_GPIO75__FUNC_O_SPIM1_CSB>,
				<PINMUX_GPIO76__FUNC_O_SPIM1_CLK>,
				<PINMUX_GPIO77__FUNC_B0_SPIM1_MOSI>,
				<PINMUX_GPIO78__FUNC_B0_SPIM1_MISO>;
			bias-disable;
		};
	};

	pcie_pins_default: pcie-default {
		mux {
			pinmux = <PINMUX_GPIO47__FUNC_I1_WAKEN>,
				 <PINMUX_GPIO48__FUNC_O_PERSTN>,
				 <PINMUX_GPIO49__FUNC_B1_CLKREQN>;
			bias-pull-up;
		};
	};

	uart0_pins: uart0-pins {
		pins {
			pinmux = <PINMUX_GPIO31__FUNC_O_UTXD0>,
				 <PINMUX_GPIO32__FUNC_I1_URXD0>;
			bias-pull-up;
		};
	};

	uart1_pins: uart1-pins {
		pins {
			pinmux = <PINMUX_GPIO33__FUNC_O_UTXD1>,
				 <PINMUX_GPIO34__FUNC_I1_URXD1>;
			bias-pull-up;
		};
	};

	uart2_pins: uart2-pins {
		pins {
			pinmux = <PINMUX_GPIO35__FUNC_O_UTXD2>,
				 <PINMUX_GPIO36__FUNC_I1_URXD2>;
			bias-pull-up;
		};
	};

	usbotg_pins: usbotg-pins {
		iddig-pin {
			pinmux = <PINMUX_GPIO83__FUNC_B_GPIO83>;
			input-enable;
			bias-pull-up;
		};

		vbus-pins {
			pinmux = <PINMUX_GPIO84__FUNC_O_USB_DRVVBUS>;
			output-high;
		};

		valid-pin {
			pinmux = <PINMUX_GPIO85__FUNC_I0_VBUSVALID>;
			input-enable;
		};
	};

	usb_hub_reset: usbhubresetgrp {
		reset-pin {
			pinmux = <PINMUX_GPIO147__FUNC_B_GPIO147>;
			output-low;
		};
	};

	usb1_default: usbp1default {
		valid_pin {
			pinmux = <PINMUX_GPIO88__FUNC_I0_VBUSVALID_1P>;
			input-enable;
		};
	};

	usb2_eth_reset: usb2resetdefault {
		reset-pin {
			pinmux = <PINMUX_GPIO80__FUNC_B_GPIO80>;	/* SPIM2_CLK */
			output-low;
		};
	};

	wifi_pwrseq_pin: wifi-pwrseq-pin {
		pins-wifi-enable {
			pinmux = <PINMUX_GPIO89__FUNC_B_GPIO89>;	/* USB2_IDDIG */
			output-low;
		};
	};

	pinctrl_watchdog: watchdoggrp {
		watchdog-pin {
			pinmux = <PINMUX_GPIO100__FUNC_O_WATCHDOG>;	/* PMIC_WATCHDOG */
			bias-pull-up;
		};
	};
};
